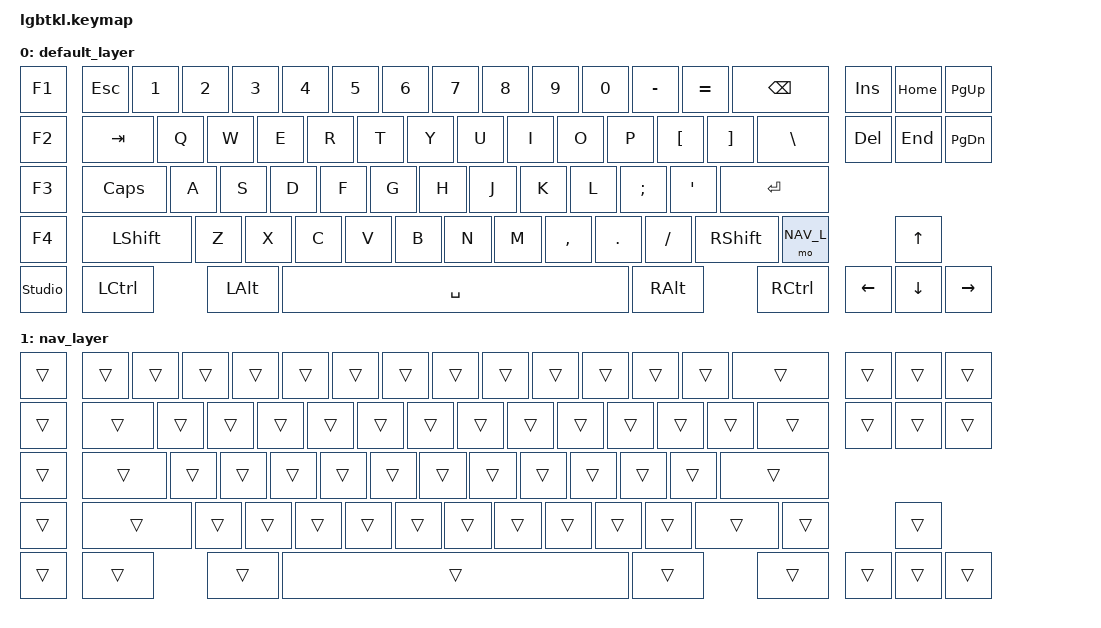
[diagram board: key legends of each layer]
/*
 * Copyright (c) 2020 The ZMK Contributors
 *
 * SPDX-License-Identifier: MIT
 */
#undef ZMK_BEHAVIORS_KEEP_ALL

#include <behaviors.dtsi>
#include <dt-bindings/zmk/keys.h>

#define NAV_L 1

/ {

    keymap {
        compatible = "zmk,keymap";

        default_layer {
            bindings = <
            	&kp F1   &kp ESC   &kp N1  &kp N2  &kp N3  &kp N4  &kp N5  &kp N6  &kp N7  &kp N8    &kp N9   &kp N0   &kp MINUS &kp EQUAL    &kp BSPC   &kp INS  &kp HOME &kp PG_UP
       		&kp F2   &kp TAB   &kp Q   &kp W   &kp E   &kp R   &kp T   &kp Y   &kp U   &kp I     &kp O    &kp P    &kp LBKT  &kp RBKT   &kp BSLH     &kp DEL  &kp END  &kp PG_DN
        	&kp F3   &kp CAPS  &kp A   &kp S   &kp D   &kp F   &kp G   &kp H   &kp J   &kp K     &kp L    &kp SEMI &kp SQT         &kp ENTER
        	&kp F4   &kp LSHFT &kp Z   &kp X   &kp C   &kp V   &kp B   &kp N   &kp M   &kp COMMA &kp DOT  &kp FSLH       &kp RSHFT      &mo NAV_L             &kp UP
        	&studio_unlock   &kp LCTRL         &kp LALT                        &kp SPACE                          &kp RALT                      &kp RCTRL    &kp LEFT &kp DOWN &kp RIGHT    
            >;
        };

        nav_layer {
            bindings = <
                &trans   &trans    &trans  &trans  &trans  &trans  &trans  &trans  &trans  &trans    &trans   &trans   &trans    &trans    &trans        &trans  &trans &trans
                &trans   &trans    &trans  &trans  &trans  &trans  &trans  &trans  &trans  &trans    &trans   &trans   &trans    &trans     &trans       &trans  &trans &trans
                &trans   &trans    &trans  &trans  &trans  &trans  &trans  &trans  &trans  &trans    &trans   &trans   &trans       &trans
                &trans   &trans    &trans  &trans  &trans  &trans  &trans  &trans  &trans  &trans    &trans   &trans        &trans            &trans             &trans
                &trans   &trans            &trans                          &trans                             &trans                        &trans       &trans  &trans &trans
            >;
        };
   };
};
